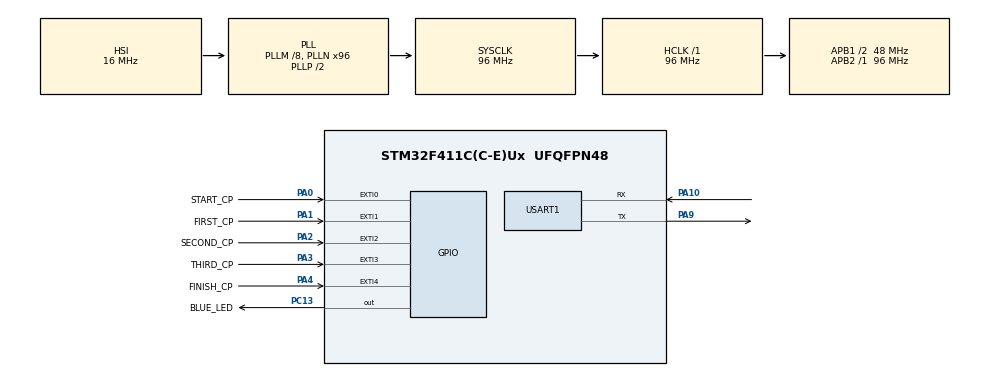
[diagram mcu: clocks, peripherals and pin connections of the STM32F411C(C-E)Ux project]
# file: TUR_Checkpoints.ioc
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Mcu.Family=STM32F4
Mcu.Name=STM32F411C(C-E)Ux
Mcu.Package=UFQFPN48
NVIC.EXTI0_IRQn=true\:2\:0\:true\:false\:true\:true\:true\:true
NVIC.EXTI1_IRQn=true\:2\:0\:true\:false\:true\:true\:true\:true
NVIC.EXTI2_IRQn=true\:2\:0\:true\:false\:true\:true\:true\:true
NVIC.EXTI3_IRQn=true\:2\:0\:true\:false\:true\:true\:true\:true
NVIC.EXTI4_IRQn=true\:2\:0\:true\:false\:true\:true\:true\:true
NVIC.PriorityGroup=NVIC_PRIORITYGROUP_4
NVIC.TIM3_IRQn=true\:1\:0\:true\:false\:true\:true\:true\:true
PA0-WKUP.GPIO_Label=START_CP
PA0-WKUP.GPIO_ModeDefaultEXTI=GPIO_MODE_IT_FALLING
PA0-WKUP.GPIO_PuPd=GPIO_PULLUP
PA0-WKUP.Signal=GPXTI0
PA1.GPIO_Label=FIRST_CP
PA1.GPIO_ModeDefaultEXTI=GPIO_MODE_IT_FALLING
PA1.GPIO_PuPd=GPIO_PULLUP
PA1.Signal=GPXTI1
PA10.Mode=Asynchronous
PA10.Signal=USART1_RX
PA13.Mode=Serial_Wire
PA13.Signal=SYS_JTMS-SWDIO
PA14.Mode=Serial_Wire
PA14.Signal=SYS_JTCK-SWCLK
PA2.GPIO_Label=SECOND_CP
PA2.GPIO_ModeDefaultEXTI=GPIO_MODE_IT_FALLING
PA2.GPIO_PuPd=GPIO_PULLUP
PA2.Signal=GPXTI2
PA3.GPIO_Label=THIRD_CP
PA3.GPIO_ModeDefaultEXTI=GPIO_MODE_IT_FALLING
PA3.GPIO_PuPd=GPIO_PULLUP
PA3.Signal=GPXTI3
PA4.GPIO_Label=FINISH_CP
PA4.GPIO_ModeDefaultEXTI=GPIO_MODE_IT_FALLING
PA4.GPIO_PuPd=GPIO_PULLUP
PA4.Signal=GPXTI4
PA9.Mode=Asynchronous
PA9.Signal=USART1_TX
PC13-ANTI_TAMP.GPIO_Label=BLUE_LED
PC13-ANTI_TAMP.Signal=GPIO_Output
PC14-OSC32_IN.Mode=LSE-External-Oscillator
PC14-OSC32_IN.Signal=RCC_OSC32_IN
PC15-OSC32_OUT.Mode=LSE-External-Oscillator
PC15-OSC32_OUT.Signal=RCC_OSC32_OUT
PH0\ -\ OSC_IN.Mode=HSE-External-Oscillator
PH0\ -\ OSC_IN.Signal=RCC_OSC_IN
PH1\ -\ OSC_OUT.Mode=HSE-External-Oscillator
PH1\ -\ OSC_OUT.Signal=RCC_OSC_OUT
ProjectManager.HeapSize=0x200
ProjectManager.StackSize=0x400
ProjectManager.TargetToolchain=STM32CubeIDE
RCC.48MHZClocksFreq_Value=48000000
RCC.AHBFreq_Value=96000000
RCC.APB1CLKDivider=RCC_HCLK_DIV2
RCC.APB1Freq_Value=48000000
RCC.APB1TimFreq_Value=96000000
RCC.APB2Freq_Value=96000000
RCC.APB2TimFreq_Value=96000000
RCC.CortexFreq_Value=96000000
RCC.HCLKFreq_Value=96000000
RCC.HSE_VALUE=25000000
RCC.HSI_VALUE=16000000
RCC.PLLM=8
RCC.PLLN=96
RCC.SYSCLKFreq_VALUE=96000000
RCC.SYSCLKSource=RCC_SYSCLKSOURCE_PLLCLK
RCC.VCOOutputFreq_Value=192000000
TIM3.Period=999
TIM3.Prescaler=95
USART1.VirtualMode=VM_ASYNC
VP_TIM3_VS_ClockSourceINT.Mode=Internal
board=custom

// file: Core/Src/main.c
/* USER CODE BEGIN Header */
/**
  ******************************************************************************
  * @file           : main.c
  * @brief          : Main program body
  ******************************************************************************
  * @attention
  *
  * Copyright (c) 2024 STMicroelectronics.
  * All rights reserved.
  *
  * This software is licensed under terms that can be found in the LICENSE file
  * in the root directory of this software component.
  * If no LICENSE file comes with this software, it is provided AS-IS.
  *
  ******************************************************************************
  */
/* USER CODE END Header */
#include "main.h"

/* USER CODE BEGIN Includes */
#include <stdio.h>
#include <string.h>
/* USER CODE END Includes */

TIM_HandleTypeDef htim3;

UART_HandleTypeDef huart1;

/* USER CODE BEGIN PV */
volatile uint32_t milliseconds = 0;
volatile uint16_t Flags = 0;
volatile uint32_t Times[4] = {0};

/* USER CODE END PV */

void SystemClock_Config(void);
static void MX_GPIO_Init(void);
static void MX_USART1_UART_Init(void);
static void MX_TIM3_Init(void);

/* USER CODE BEGIN 0 */

void TransmitTimesArray(void)
{
    char buffer[50];
    for (int i = 0; i < 4; i++)
    {
        snprintf(buffer, sizeof(buffer), "Time %d: %lu ms\r\n", i, Times[i]);
        HAL_UART_Transmit(&huart1, (uint8_t*)buffer, strlen(buffer), HAL_MAX_DELAY);
    }
}

void HAL_GPIO_EXTI_Callback(uint16_t GPIO_Pin) {
	switch (GPIO_Pin) {
	case START_CP_Pin:
		if (Flags == 0) {
			Flags++;
			milliseconds = 0;
			__HAL_TIM_SET_COUNTER(&htim3, 0);
			HAL_TIM_Base_Start_IT(&htim3);
			HAL_NVIC_DisableIRQ(START_CP_EXTI_IRQn);
		}
		break;
	case FIRST_CP_Pin:
		if (Flags == 1) {
			Flags++;
			Times[0] = milliseconds;
			HAL_NVIC_DisableIRQ(FIRST_CP_EXTI_IRQn);
		}
		break;
	case SECOND_CP_Pin:
		if (Flags == 2) {
			Flags++;
			Times[1] = milliseconds;
			HAL_NVIC_DisableIRQ(SECOND_CP_EXTI_IRQn);
		}
		break;
	case THIRD_CP_Pin:
		if (Flags == 3) {
			Flags++;
			Times[2] = milliseconds;
			HAL_NVIC_DisableIRQ(THIRD_CP_EXTI_IRQn);
		}
		break;
	case FINISH_CP_Pin:
		if (Flags == 4) {
			Flags++;
			Times[3] = milliseconds;
			HAL_NVIC_DisableIRQ(FINISH_CP_EXTI_IRQn);
			HAL_TIM_Base_Stop_IT(&htim3);
		}
	default:
		break;
	}
	//Transmit Function
	TransmitTimesArray();
}

void HAL_TIM_PeriodElapsedCallback(TIM_HandleTypeDef *htim) {
	if (htim -> Instance == TIM3) {
		milliseconds++;
	}
}

/* USER CODE END 0 */

int main(void)
{

  /* MCU Configuration--------------------------------------------------------*/

  /* Reset of all peripherals, Initializes the Flash interface and the Systick. */
  HAL_Init();

  /* Configure the system clock */
  SystemClock_Config();

  /* Initialize all configured peripherals */
  MX_GPIO_Init();
  MX_USART1_UART_Init();
  MX_TIM3_Init();

  /* Infinite loop */
  while (1)
  {

  }
}

void SystemClock_Config(void)
{
  RCC_OscInitTypeDef RCC_OscInitStruct = {0};
  RCC_ClkInitTypeDef RCC_ClkInitStruct = {0};

  /** Configure the main internal regulator output voltage
  */
  __HAL_RCC_PWR_CLK_ENABLE();
  __HAL_PWR_VOLTAGESCALING_CONFIG(PWR_REGULATOR_VOLTAGE_SCALE1);

  /** Initializes the RCC Oscillators according to the specified parameters
  * in the RCC_OscInitTypeDef structure.
  */
  RCC_OscInitStruct.OscillatorType = RCC_OSCILLATORTYPE_HSI;
  RCC_OscInitStruct.HSIState = RCC_HSI_ON;
  RCC_OscInitStruct.HSICalibrationValue = RCC_HSICALIBRATION_DEFAULT;
  RCC_OscInitStruct.PLL.PLLState = RCC_PLL_ON;
  RCC_OscInitStruct.PLL.PLLSource = RCC_PLLSOURCE_HSI;
  RCC_OscInitStruct.PLL.PLLM = 8;
  RCC_OscInitStruct.PLL.PLLN = 96;
  RCC_OscInitStruct.PLL.PLLP = RCC_PLLP_DIV2;
  RCC_OscInitStruct.PLL.PLLQ = 4;
  if (HAL_RCC_OscConfig(&RCC_OscInitStruct) != HAL_OK)
  {
    Error_Handler();
  }

  /** Initializes the CPU, AHB and APB buses clocks
  */
  RCC_ClkInitStruct.ClockType = RCC_CLOCKTYPE_HCLK|RCC_CLOCKTYPE_SYSCLK
                              |RCC_CLOCKTYPE_PCLK1|RCC_CLOCKTYPE_PCLK2;
  RCC_ClkInitStruct.SYSCLKSource = RCC_SYSCLKSOURCE_PLLCLK;
  RCC_ClkInitStruct.AHBCLKDivider = RCC_SYSCLK_DIV1;
  RCC_ClkInitStruct.APB1CLKDivider = RCC_HCLK_DIV2;
  RCC_ClkInitStruct.APB2CLKDivider = RCC_HCLK_DIV1;

  if (HAL_RCC_ClockConfig(&RCC_ClkInitStruct, FLASH_LATENCY_3) != HAL_OK)
  {
    Error_Handler();
  }
}

static void MX_TIM3_Init(void)
{

  TIM_ClockConfigTypeDef sClockSourceConfig = {0};
  TIM_MasterConfigTypeDef sMasterConfig = {0};

  htim3.Instance = TIM3;
  htim3.Init.Prescaler = 95;
  htim3.Init.CounterMode = TIM_COUNTERMODE_UP;
  htim3.Init.Period = 999;
  htim3.Init.ClockDivision = TIM_CLOCKDIVISION_DIV1;
  htim3.Init.AutoReloadPreload = TIM_AUTORELOAD_PRELOAD_DISABLE;
  if (HAL_TIM_Base_Init(&htim3) != HAL_OK)
  {
    Error_Handler();
  }
  sClockSourceConfig.ClockSource = TIM_CLOCKSOURCE_INTERNAL;
  if (HAL_TIM_ConfigClockSource(&htim3, &sClockSourceConfig) != HAL_OK)
  {
    Error_Handler();
  }
  sMasterConfig.MasterOutputTrigger = TIM_TRGO_RESET;
  sMasterConfig.MasterSlaveMode = TIM_MASTERSLAVEMODE_DISABLE;
  if (HAL_TIMEx_MasterConfigSynchronization(&htim3, &sMasterConfig) != HAL_OK)
  {
    Error_Handler();
  }

}

static void MX_USART1_UART_Init(void)
{

  huart1.Instance = USART1;
  huart1.Init.BaudRate = 115200;
  huart1.Init.WordLength = UART_WORDLENGTH_8B;
  huart1.Init.StopBits = UART_STOPBITS_1;
  huart1.Init.Parity = UART_PARITY_NONE;
  huart1.Init.Mode = UART_MODE_TX_RX;
  huart1.Init.HwFlowCtl = UART_HWCONTROL_NONE;
  huart1.Init.OverSampling = UART_OVERSAMPLING_16;
  if (HAL_UART_Init(&huart1) != HAL_OK)
  {
    Error_Handler();
  }

}

static void MX_GPIO_Init(void)
{
  GPIO_InitTypeDef GPIO_InitStruct = {0};

  /* GPIO Ports Clock Enable */
  __HAL_RCC_GPIOC_CLK_ENABLE();
  __HAL_RCC_GPIOH_CLK_ENABLE();
  __HAL_RCC_GPIOA_CLK_ENABLE();

  /*Configure GPIO pin Output Level */
  HAL_GPIO_WritePin(BLUE_LED_GPIO_Port, BLUE_LED_Pin, GPIO_PIN_RESET);

  /*Configure GPIO pin : BLUE_LED_Pin */
  GPIO_InitStruct.Pin = BLUE_LED_Pin;
  GPIO_InitStruct.Mode = GPIO_MODE_OUTPUT_PP;
  GPIO_InitStruct.Pull = GPIO_NOPULL;
  GPIO_InitStruct.Speed = GPIO_SPEED_FREQ_LOW;
  HAL_GPIO_Init(BLUE_LED_GPIO_Port, &GPIO_InitStruct);

  /*Configure GPIO pins : START_CP_Pin FIRST_CP_Pin SECOND_CP_Pin THIRD_CP_Pin
                           FINISH_CP_Pin */
  GPIO_InitStruct.Pin = START_CP_Pin|FIRST_CP_Pin|SECOND_CP_Pin|THIRD_CP_Pin
                          |FINISH_CP_Pin;
  GPIO_InitStruct.Mode = GPIO_MODE_IT_FALLING;
  GPIO_InitStruct.Pull = GPIO_PULLUP;
  HAL_GPIO_Init(GPIOA, &GPIO_InitStruct);

  /* EXTI interrupt init*/
  HAL_NVIC_SetPriority(EXTI0_IRQn, 2, 0);
  HAL_NVIC_EnableIRQ(EXTI0_IRQn);

  HAL_NVIC_SetPriority(EXTI1_IRQn, 2, 0);
  HAL_NVIC_EnableIRQ(EXTI1_IRQn);

  HAL_NVIC_SetPriority(EXTI2_IRQn, 2, 0);
  HAL_NVIC_EnableIRQ(EXTI2_IRQn);

  HAL_NVIC_SetPriority(EXTI3_IRQn, 2, 0);
  HAL_NVIC_EnableIRQ(EXTI3_IRQn);

  HAL_NVIC_SetPriority(EXTI4_IRQn, 2, 0);
  HAL_NVIC_EnableIRQ(EXTI4_IRQn);

}

void Error_Handler(void)
{
  __disable_irq();
  while (1)
  {
  }
}
